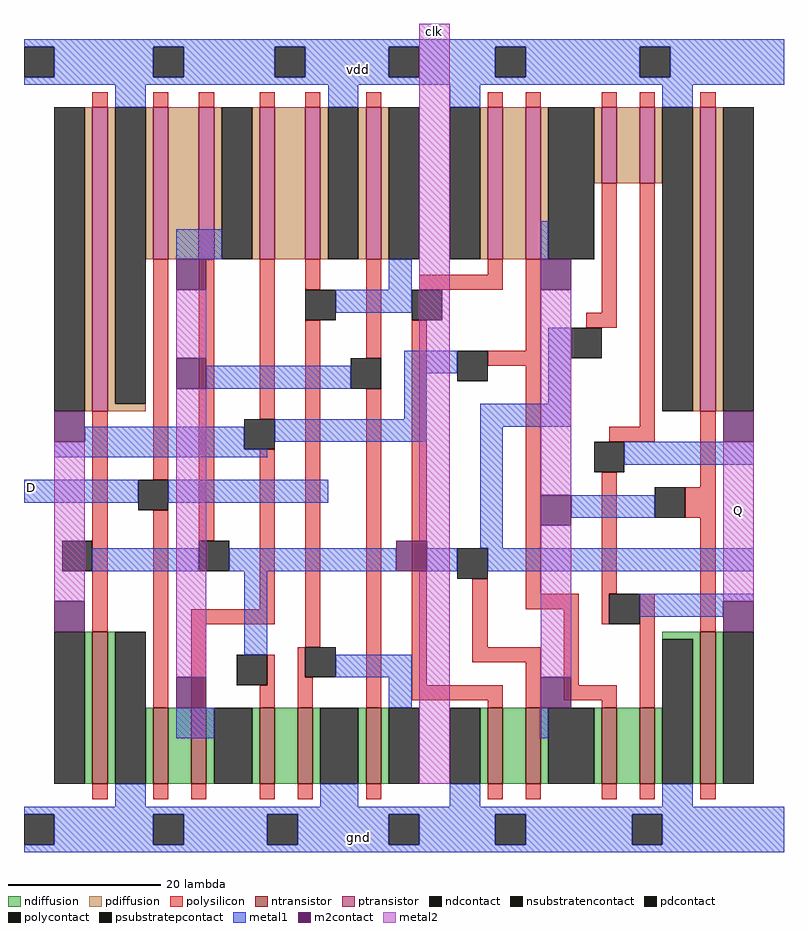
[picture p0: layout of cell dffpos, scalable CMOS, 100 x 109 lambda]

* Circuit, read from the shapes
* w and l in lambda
.subckt dffpos D Q clk gnd vdd
M1 gnd clk n1 gnd nfet w=20 l=2
M2 n2 D gnd gnd nfet w=10 l=2
M3 n3 n1 n2 gnd nfet w=10 l=2
M4 n4 clk n3 gnd nfet w=10 l=2
M5 gnd n5 n4 gnd nfet w=10 l=2
M6 n5 n3 gnd gnd nfet w=10 l=2
M7 n6 n5 gnd gnd nfet w=10 l=2
M8 n7 clk n6 gnd nfet w=10 l=2
M9 n8 n1 n7 gnd nfet w=10 l=2
M10 gnd Q n8 gnd nfet w=10 l=2
M11 Q n7 gnd gnd nfet w=20 l=2
M12 vdd clk n1 vdd pfet w=40 l=2
M13 n9 D vdd vdd pfet w=20 l=2
M14 n3 clk n9 vdd pfet w=20 l=2
M15 n10 n1 n3 vdd pfet w=20 l=2
M16 vdd n5 n10 vdd pfet w=20 l=2
M17 n5 n3 vdd vdd pfet w=20 l=2
M18 n11 n5 vdd vdd pfet w=20 l=2
M19 n7 n1 n11 vdd pfet w=20 l=2
M20 n12 clk n7 vdd pfet w=10 l=2
M21 vdd Q n12 vdd pfet w=10 l=2
M22 Q n7 vdd vdd pfet w=40 l=2
.ends

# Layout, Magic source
magic
tech scmos
<< ntransistor >>
rect -29 -84 -27 -64
rect -21 -84 -19 -74
rect -16 -84 -14 -74
rect -7 -84 -5 -74
rect -2 -84 0 -74
rect 7 -84 9 -74
rect 23 -84 25 -74
rect 28 -84 30 -74
rect 38 -84 40 -74
rect 43 -84 45 -74
rect 51 -84 53 -64
<< ptransistor >>
rect -29 -35 -27 5
rect -21 -15 -19 5
rect -15 -15 -13 5
rect -7 -15 -5 5
rect -1 -15 1 5
rect 7 -15 9 5
rect 23 -15 25 5
rect 28 -15 30 5
rect 38 -5 40 5
rect 43 -5 45 5
rect 51 -35 53 5
<< ndiffusion >>
rect -30 -84 -29 -64
rect -27 -84 -26 -64
rect 46 -65 51 -64
rect -22 -84 -21 -74
rect -19 -84 -16 -74
rect -14 -84 -13 -74
rect -8 -84 -7 -74
rect -5 -84 -2 -74
rect 0 -84 1 -74
rect 6 -84 7 -74
rect 9 -84 10 -74
rect 22 -84 23 -74
rect 25 -84 28 -74
rect 30 -84 31 -74
rect 37 -84 38 -74
rect 40 -84 43 -74
rect 45 -84 46 -74
rect 50 -84 51 -65
rect 53 -84 54 -64
<< pdiffusion >>
rect -30 -35 -29 5
rect -27 -34 -26 5
rect -22 -15 -21 5
rect -19 -15 -15 5
rect -13 -15 -12 5
rect -8 -15 -7 5
rect -5 -15 -1 5
rect 1 -15 2 5
rect 6 -15 7 5
rect 9 -15 10 5
rect 22 -15 23 5
rect 25 -15 28 5
rect 30 -15 31 5
rect 37 -5 38 5
rect 40 -5 43 5
rect 45 -5 46 5
rect -27 -35 -22 -34
rect 50 -35 51 5
rect 53 -35 54 5
<< ndcontact >>
rect -34 -84 -30 -64
rect -26 -84 -22 -64
rect -13 -84 -8 -74
rect 1 -84 6 -74
rect 10 -84 14 -74
rect 18 -84 22 -74
rect 31 -84 37 -74
rect 46 -84 50 -65
rect 54 -84 58 -64
<< pdcontact >>
rect -34 -35 -30 5
rect -26 -34 -22 5
rect -12 -15 -8 5
rect 2 -15 6 5
rect 10 -15 14 5
rect 18 -15 22 5
rect 31 -15 37 5
rect 46 -35 50 5
rect 54 -35 58 5
<< psubstratepcontact >>
rect -38 -92 -34 -88
rect -21 -92 -17 -88
rect -6 -92 -2 -88
rect 10 -92 14 -88
rect 24 -92 28 -88
rect 42 -92 46 -88
<< nsubstratencontact >>
rect -38 9 -34 13
rect -21 9 -17 13
rect -5 9 -1 13
rect 10 9 14 13
rect 24 9 28 13
rect 43 9 47 13
<< polysilicon >>
rect -29 5 -27 7
rect -21 5 -19 7
rect -15 5 -13 7
rect -7 5 -5 7
rect -1 5 1 7
rect 7 5 9 7
rect 23 5 25 7
rect 28 5 30 7
rect 38 5 40 7
rect 43 5 45 7
rect 51 5 53 7
rect -29 -64 -27 -35
rect -21 -44 -19 -15
rect -21 -74 -19 -48
rect -15 -52 -13 -15
rect -7 -36 -5 -15
rect -7 -61 -5 -40
rect -16 -63 -5 -61
rect -1 -19 1 -15
rect -16 -74 -14 -63
rect -1 -66 1 -23
rect 7 -28 9 -15
rect 23 -17 25 -15
rect 14 -19 25 -17
rect -6 -71 -5 -67
rect -7 -74 -5 -71
rect -2 -70 -1 -66
rect -2 -74 0 -70
rect 7 -74 9 -32
rect 13 -71 15 -23
rect 28 -27 30 -15
rect 38 -22 40 -5
rect 36 -24 40 -22
rect 23 -29 30 -27
rect 21 -66 23 -57
rect 28 -59 30 -29
rect 43 -37 45 -5
rect 39 -39 45 -37
rect 38 -59 40 -43
rect 51 -45 53 -35
rect 49 -49 53 -45
rect 28 -61 35 -59
rect 21 -68 30 -66
rect 13 -73 25 -71
rect 23 -74 25 -73
rect 28 -74 30 -68
rect 33 -71 35 -61
rect 38 -63 39 -59
rect 33 -73 40 -71
rect 38 -74 40 -73
rect 43 -74 45 -59
rect 51 -64 53 -49
rect -29 -86 -27 -84
rect -21 -86 -19 -84
rect -16 -86 -14 -84
rect -7 -86 -5 -84
rect -2 -86 0 -84
rect 7 -86 9 -84
rect 23 -86 25 -84
rect 28 -86 30 -84
rect 38 -86 40 -84
rect 43 -86 45 -84
rect 51 -86 53 -84
<< polycontact >>
rect -33 -56 -29 -52
rect -23 -48 -19 -44
rect -9 -40 -5 -36
rect -15 -56 -11 -52
rect -1 -23 3 -19
rect 5 -32 9 -28
rect -10 -71 -6 -67
rect -1 -70 3 -66
rect 13 -23 17 -19
rect 19 -31 23 -27
rect 34 -28 38 -24
rect 19 -57 23 -53
rect 37 -43 41 -39
rect 45 -49 49 -45
rect 39 -63 43 -59
<< metal1 >>
rect -38 13 62 14
rect -34 9 -21 13
rect -17 9 -5 13
rect -1 9 10 13
rect 14 9 24 13
rect 28 9 43 13
rect 47 9 62 13
rect -38 8 62 9
rect -26 5 -22 8
rect 2 5 6 8
rect 18 5 22 8
rect 46 5 50 8
rect -18 -15 -12 -11
rect 30 -15 31 -10
rect 10 -19 13 -15
rect 3 -22 13 -19
rect -14 -32 5 -29
rect 12 -30 19 -27
rect 12 -36 15 -30
rect 31 -34 34 -24
rect -30 -39 -9 -37
rect -34 -40 -9 -39
rect -5 -39 15 -36
rect 22 -37 34 -34
rect -34 -41 -6 -40
rect -38 -47 -23 -44
rect -19 -47 2 -44
rect -29 -56 -15 -53
rect -11 -56 11 -53
rect 22 -53 25 -37
rect 41 -42 58 -39
rect 34 -49 45 -46
rect 15 -56 19 -53
rect -9 -67 -6 -56
rect 23 -56 58 -53
rect 43 -60 58 -59
rect 43 -62 54 -60
rect 3 -70 13 -67
rect 10 -74 13 -70
rect -18 -78 -13 -74
rect 30 -78 31 -74
rect -26 -87 -22 -84
rect 1 -87 6 -84
rect 18 -87 22 -84
rect 46 -87 50 -84
rect -38 -88 62 -87
rect -34 -92 -21 -88
rect -17 -92 -6 -88
rect -2 -92 10 -88
rect 14 -92 24 -88
rect 28 -92 42 -88
rect 46 -92 62 -88
rect -38 -93 62 -92
<< m2contact >>
rect -18 -19 -14 -15
rect 30 -19 34 -15
rect -18 -32 -14 -28
rect -34 -39 -30 -35
rect 11 -56 15 -52
rect 54 -39 58 -35
rect 30 -50 34 -46
rect -34 -64 -30 -60
rect 54 -64 58 -60
rect -18 -74 -14 -70
rect 30 -74 34 -70
<< metal2 >>
rect -18 -28 -14 -19
rect -34 -60 -30 -39
rect -18 -70 -14 -32
rect 14 -52 18 16
rect 15 -56 18 -52
rect 14 -84 18 -56
rect 30 -46 34 -19
rect 30 -70 34 -50
rect 54 -60 58 -39
<< labels >>
rlabel metal1 6 10 6 10 1 vdd
rlabel metal1 6 -91 6 -91 1 gnd
rlabel metal1 -37 -45 -37 -45 3 D
rlabel metal2 56 -48 56 -48 1 Q
rlabel metal2 16 15 16 15 5 clk
<< end >>
